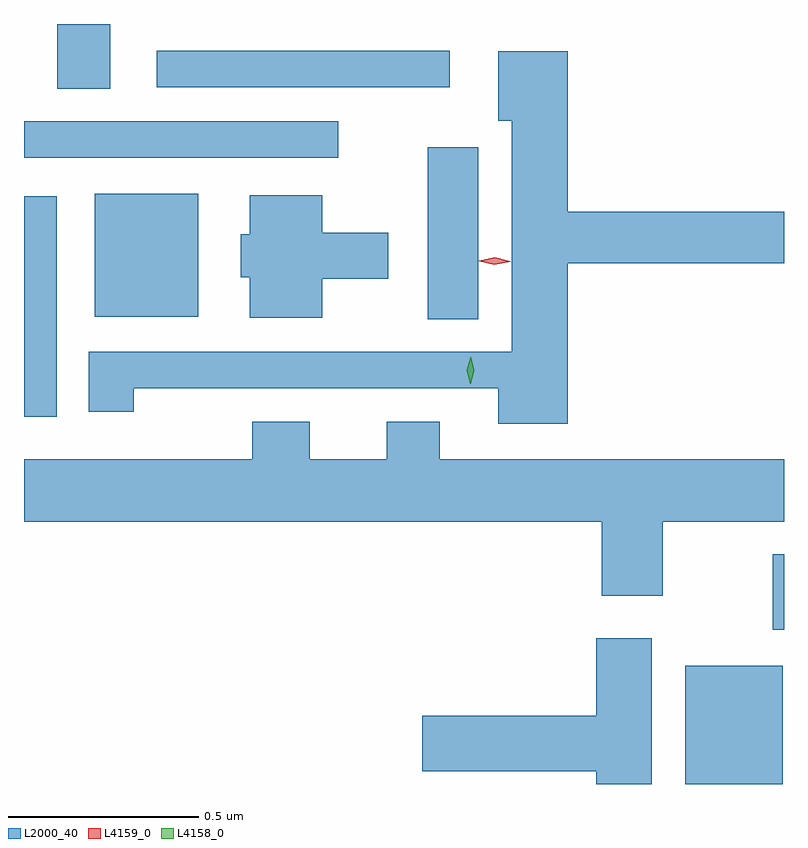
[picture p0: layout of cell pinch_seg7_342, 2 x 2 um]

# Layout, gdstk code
import gdstk
lib = gdstk.Library(unit=1e-6, precision=1e-09)
def R(c, l, rs):  # rectangles x0, y0, x1, y1
    for r in rs: c.add(gdstk.rectangle(r[:2], r[2:], *l))
def P(c, l, *ps):  # polygons
    for p in ps: c.add(gdstk.Polygon(p, *l))
L2000_40 = (2000, 40)
L4158_0 = (4158, 0)
L4159_0 = (4159, 0)

pinch_seg7_342 = lib.new_cell('pinch_seg7_342')
R(pinch_seg7_342, L2000_40, [(396.686,1046.546,396.943,1046.857), (396.916,1046.952,396.946,1047.151), (394.946,1047.512,395.032,1048.093), (396.008,1047.769,396.142,1048.222), (395.132,1047.776,395.404,1048.099), (394.946,1048.194,395.773,1048.29), (395.033,1048.375,395.173,1048.546), (395.295,1048.38,396.067,1048.476)])
P(pinch_seg7_342, L2000_40, [(396.377,1047.916),(396.946,1047.916),(396.946,1048.052),(396.377,1048.052),(396.377,1048.474),(396.194,1048.474),(396.194,1048.292),(396.23,1048.292),(396.23,1047.684),(395.117,1047.684),(395.117,1047.525),(395.235,1047.525),(395.235,1047.587),(395.462,1047.587),(395.462,1047.588),(396.194,1047.588),(396.194,1047.494),(396.377,1047.494)],
  [(395.731,1047.875),(395.905,1047.875),(395.905,1047.997),(395.731,1047.997),(395.731,1048.096),(395.54,1048.096),(395.54,1047.993),(395.516,1047.993),(395.516,1047.879),(395.54,1047.879),(395.54,1047.773),(395.731,1047.773)],
  [(396.627,1047.236),(396.946,1047.236),(396.946,1047.4),(396.04,1047.4),(396.04,1047.499),(395.9,1047.499),(395.9,1047.4),(395.698,1047.4),(395.698,1047.499),(395.546,1047.499),(395.546,1047.4),(394.946,1047.4),(394.946,1047.236),(396.467,1047.236),(396.467,1047.042),(396.627,1047.042)],
  [(396.598,1046.929),(396.452,1046.929),(396.452,1046.726),(395.994,1046.726),(395.994,1046.579),(396.452,1046.579),(396.452,1046.546),(396.598,1046.546)])
P(pinch_seg7_342, L4158_0, [(396.12,1047.599),(396.12,1047.599),(396.111,1047.635),(396.121,1047.671),(396.121,1047.671),(396.122,1047.671),(396.131,1047.635),(396.121,1047.599)])
P(pinch_seg7_342, L4159_0, [(396.184,1047.912),(396.144,1047.922),(396.143,1047.923),(396.144,1047.923),(396.185,1047.932),(396.226,1047.922),(396.226,1047.922),(396.226,1047.921)])

lib.write_gds('pinch_seg7_342.gds')
